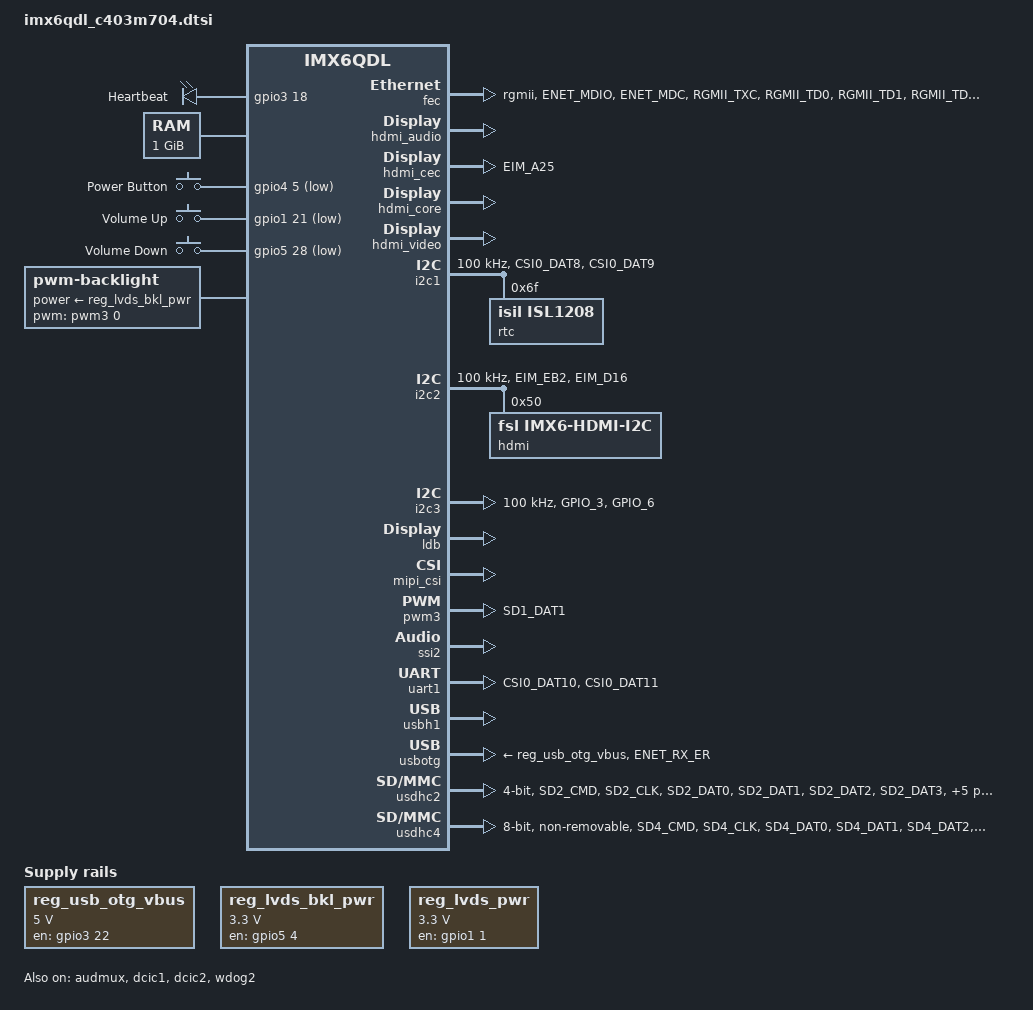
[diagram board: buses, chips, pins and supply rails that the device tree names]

#include <dt-bindings/gpio/gpio.h>
#include <dt-bindings/input/input.h>

/ {
	aliases {
		mxcfb0 = &mxcfb1;
		mxcfb1 = &mxcfb2;
		mxcfb2 = &mxcfb3;
		mxcfb3 = &mxcfb4;
	};


	hannstar_cabc {
		compatible = "hannstar,cabc";
		lvds0 {
			gpios = <&gpio1 1 GPIO_ACTIVE_HIGH>;
		};
		lvds1 {
			gpios = <&gpio1 1 GPIO_ACTIVE_HIGH>;
		};
	};

	chosen {
		stdout-path = &uart1;
	};


	leds {
		compatible = "gpio-leds";
		user_led: user {
			label = "Heartbeat";
			gpios = <&gpio3 18 0>;
			linux,default-trigger = "heartbeat";
		};
	};

	memory: memory {
		reg = <0x10000000 0x40000000>;
	};

	regulators {
		compatible = "simple-bus";
		#address-cells = <1>;
		#size-cells = <0>;

		reg_usb_otg_vbus: regulator@0 {
			compatible = "regulator-fixed";
			reg = <0>;
			regulator-name = "usb_otg_vbus";
			regulator-min-microvolt = <5000000>;
			regulator-max-microvolt = <5000000>;
			gpio = <&gpio3 22 0>;
			enable-active-high;
		};

		reg_lvds_bkl_pwr: regulator@1 {
			compatible = "regulator-fixed";
			reg = <1>;
			regulator-name = "lvds_bkl_pwr";
			regulator-min-microvolt = <3300000>;
			regulator-max-microvolt = <3300000>;
			pinctrl-names = "default";
			pinctrl-0 = <&pinctrl_lvds_bkl_pwr>;
			gpio = <&gpio5 4 GPIO_ACTIVE_HIGH>;
			enable-active-high;
			regulator-boot-on;
			regulator-always-on;
		};

		reg_lvds_pwr: regulator@2 {
			compatible = "regulator-fixed";
			reg = <2>;
			regulator-name = "lvds_pwr";
			regulator-min-microvolt = <3300000>;
			regulator-max-microvolt = <3300000>;
			pinctrl-names = "default";
			pinctrl-0 = <&pinctrl_lvds_pwr>;
			gpio = <&gpio1 1 GPIO_ACTIVE_HIGH>;
			enable-active-high;
			regulator-boot-on;
			regulator-always-on;
		};
	};

	gpio-keys {
		compatible = "gpio-keys";
		pinctrl-names = "default";
		pinctrl-0 = <&pinctrl_gpio_keys>;

		power {
			label = "Power Button";
			gpios = <&gpio4 5 GPIO_ACTIVE_LOW>;
			gpio-key,wakeup;
			linux,code = <KEY_POWER>;
		};

		volume-up {
			label = "Volume Up";
			gpios = <&gpio1 21 GPIO_ACTIVE_LOW>;
			gpio-key,wakeup;
			linux,code = <KEY_VOLUMEUP>;
		};

		volume-down {
			label = "Volume Down";
			gpios = <&gpio5 28 GPIO_ACTIVE_LOW>;
			gpio-key,wakeup;
			linux,code = <KEY_VOLUMEDOWN>;
		};
	};

	sound-hdmi {
		compatible = "fsl,imx6q-audio-hdmi",
			     "fsl,imx-audio-hdmi";
		model = "imx-audio-hdmi";
		hdmi-controller = <&hdmi_audio>;
	};

	mxcfb1: fb@0 {
		compatible = "fsl,mxc_sdc_fb";
		disp_dev = "ldb";
		interface_pix_fmt = "RGB666";
		default_bpp = <16>;
		int_clk = <0>;
		late_init = <0>;
		status = "disabled";
	};

	mxcfb2: fb@1 {
		compatible = "fsl,mxc_sdc_fb";
		disp_dev = "hdmi";
		interface_pix_fmt = "RGB24";
		mode_str ="1920x1080M@60";
		default_bpp = <24>;
		int_clk = <0>;
		late_init = <0>;
		status = "disabled";
	};

	mxcfb3: fb@2 {
		compatible = "fsl,mxc_sdc_fb";
		disp_dev = "lcd";
		interface_pix_fmt = "RGB565";
		mode_str ="CLAA-WVGA";
		default_bpp = <16>;
		int_clk = <0>;
		late_init = <0>;
		status = "disabled";
	};

	mxcfb4: fb@3 {
		compatible = "fsl,mxc_sdc_fb";
		disp_dev = "ldb";
		interface_pix_fmt = "RGB666";
		default_bpp = <16>;
		int_clk = <0>;
		late_init = <0>;
		status = "disabled";
	};


	backlight {
		compatible = "pwm-backlight";
		pwms = <&pwm3 0 50000>;
		brightness-levels = <0 4 8 16 32 64 128 255>;
		default-brightness-level = <4>;
		power-supply = <&reg_lvds_bkl_pwr>;
		status = "okay";
	};

	v4l2_cap_0 {
		compatible = "fsl,imx6q-v4l2-capture";
		ipu_id = <0>;
		csi_id = <0>;
		mclk_source = <0>;
		status = "okay";
	};

	v4l2_cap_1 {
		compatible = "fsl,imx6q-v4l2-capture";
		ipu_id = <0>;
		csi_id = <1>;
		mclk_source = <0>;
		status = "okay";
	};

	v4l2_out {
		compatible = "fsl,mxc_v4l2_output";
		status = "okay";
	};

};

&audmux {
	pinctrl-names = "default";
	pinctrl-0 = <&pinctrl_audmux>;
	status = "okay";
};

&clks {
	fsl,ldb-di0-parent = <&clks IMX6QDL_CLK_PLL2_PFD0_352M>;
	fsl,ldb-di1-parent = <&clks IMX6QDL_CLK_PLL2_PFD0_352M>;
};


&fec {
	pinctrl-names = "default";
	pinctrl-0 = <&pinctrl_enet>;
	phy-mode = "rgmii";
	phy-reset-gpios = <&gpio1 27 0>;
	fsl,magic-packet;
	status = "okay";
};

&gpc {
	fsl,ldo-bypass = <1>;
};

&dcic1 {
	dcic_id = <0>;
	dcic_mux = "dcic-hdmi";
	status = "okay";
};

&dcic2 {
	dcic_id = <1>;
	dcic_mux = "dcic-lvds1";
	status = "okay";
};

&hdmi_audio {
	status = "okay";
};

&hdmi_cec {
	pinctrl-names = "default";
	pinctrl-0 = <&pinctrl_hdmi_cec>;
	status = "okay";
};

&hdmi_core {
	ipu_id = <0>;
	disp_id = <0>;
	status = "okay";
};

&hdmi_video {
	fsl,phy_reg_vlev = <0x0294>;
	fsl,phy_reg_cksymtx = <0x800d>;
	status = "okay";
};

&i2c1 {
	clock-frequency = <100000>;
	pinctrl-names = "default";
	pinctrl-0 = <&pinctrl_i2c1>;
	status = "okay";

	rtc: rtc@6f {
		compatible = "isil,isl1208";
		reg = <0x6f>;
	};
};

&i2c2 {
	clock-frequency = <100000>;
	pinctrl-names = "default";
	pinctrl-0 = <&pinctrl_i2c2>;
	status = "okay";

	hdmi: edid@50 {
		compatible = "fsl,imx6-hdmi-i2c";
		reg = <0x50>;
	};
};

&i2c3 {
	clock-frequency = <100000>;
	pinctrl-names = "default";
	pinctrl-0 = <&pinctrl_i2c3>;
	status = "okay";
};

&iomuxc {
	pinctrl-names = "default";
	pinctrl-0 = <&pinctrl_hog>;

	imx6qdl-sabresd {
		pinctrl_hog: hoggrp {
			fsl,pins = <
				MX6QDL_PAD_EIM_D18__GPIO3_IO18 		0x80000000 	/*running led*/
				MX6QDL_PAD_GPIO_19__GPIO4_IO05          0x1b0b1         /*sys power button*/
			>;
		};

		pinctrl_audmux: audmuxgrp {
			fsl,pins = <
				MX6QDL_PAD_CSI0_DAT7__AUD3_RXD		0x130b0
				MX6QDL_PAD_CSI0_DAT4__AUD3_TXC		0x130b0
				MX6QDL_PAD_CSI0_DAT5__AUD3_TXD		0x110b0
				MX6QDL_PAD_CSI0_DAT6__AUD3_TXFS		0x130b0
			>;
		};

		pinctrl_ecspi1: ecspi1grp {
			fsl,pins = <
				MX6QDL_PAD_KEY_COL1__ECSPI1_MISO	0x100b1
				MX6QDL_PAD_KEY_ROW0__ECSPI1_MOSI	0x100b1
				MX6QDL_PAD_KEY_COL0__ECSPI1_SCLK	0x100b1
				MX6QDL_PAD_KEY_ROW1__GPIO4_IO09		0x1b0b0
			>;
		};

		pinctrl_lvds_bkl_pwr: lvds_bkl-pwrgrp {
			fsl,pins = <
				MX6QDL_PAD_EIM_A24__GPIO5_IO04		0x1b0b1 	/* lvds backlight Power Enable */
			>;
		};

		pinctrl_lvds_pwr: lvds-pwrgrp {
			fsl,pins = <
				MX6QDL_PAD_GPIO_1__GPIO1_IO01		0x1b0b1 	/* lvds LCD Power Enable */
			>;
		};

		pinctrl_enet: enetgrp {
			fsl,pins = <
				MX6QDL_PAD_ENET_MDIO__ENET_MDIO		0x1b0b0
				MX6QDL_PAD_ENET_MDC__ENET_MDC		0x1b0b0
				MX6QDL_PAD_RGMII_TXC__RGMII_TXC		0x1b0b0
				MX6QDL_PAD_RGMII_TD0__RGMII_TD0		0x1b0b0
				MX6QDL_PAD_RGMII_TD1__RGMII_TD1		0x1b0b0
				MX6QDL_PAD_RGMII_TD2__RGMII_TD2		0x1b0b0
				MX6QDL_PAD_RGMII_TD3__RGMII_TD3		0x1b0b0
				MX6QDL_PAD_RGMII_TX_CTL__RGMII_TX_CTL	0x1b0b0
				MX6QDL_PAD_ENET_REF_CLK__ENET_TX_CLK	0x1b0b0
				MX6QDL_PAD_RGMII_RXC__RGMII_RXC		0x1b0b0
				MX6QDL_PAD_RGMII_RD0__RGMII_RD0		0x1b0b0
				MX6QDL_PAD_RGMII_RD1__RGMII_RD1		0x1b0b0
				MX6QDL_PAD_RGMII_RD2__RGMII_RD2		0x1b0b0
				MX6QDL_PAD_RGMII_RD3__RGMII_RD3		0x1b0b0
				MX6QDL_PAD_RGMII_RX_CTL__RGMII_RX_CTL	0x1b0b0
				MX6QDL_PAD_GPIO_16__ENET_REF_CLK	0x4001b0a8
				MX6QDL_PAD_ENET_RXD0__GPIO1_IO27	0x000b0 /* Phy reset */
				MX6QDL_PAD_ENET_RXD1__GPIO1_IO26	0x000b1
			>;
		};


		pinctrl_gpio_keys: gpio_keysgrp {
			fsl,pins = <
				MX6QDL_PAD_EIM_D29__GPIO3_IO29 			0x1b0b0
				MX6QDL_PAD_SD1_DAT3__GPIO1_IO21  		0x1b0b0
				MX6QDL_PAD_CSI0_PIXCLK__GPIO5_IO18  		0x1b0b0
			>;
		};

		pinctrl_hdmi_cec: hdmicecgrp {
			fsl,pins = <
				MX6QDL_PAD_EIM_A25__HDMI_TX_CEC_LINE 0x108b0
			>;
		};

		pinctrl_hdmi_hdcp: hdmihdcpgrp {
			fsl,pins = <
				MX6QDL_PAD_EIM_EB2__HDMI_TX_DDC_SCL 0x4001b8b1
				MX6QDL_PAD_EIM_D16__HDMI_TX_DDC_SDA 0x4001b8b1
			>;
		};

		pinctrl_i2c1: i2c1grp {
			fsl,pins = <
				MX6QDL_PAD_CSI0_DAT8__I2C1_SDA		0x4001b8b1
				MX6QDL_PAD_CSI0_DAT9__I2C1_SCL		0x4001b8b1
			>;
		};

		pinctrl_i2c2: i2c2grp {
			fsl,pins = <
				MX6QDL_PAD_EIM_EB2__I2C2_SCL		0x4001b8b1
				MX6QDL_PAD_EIM_D16__I2C2_SDA		0x4001b8b1
			>;
		};

		pinctrl_i2c3: i2c3grp {
			fsl,pins = <
				MX6QDL_PAD_GPIO_3__I2C3_SCL		0x4001b8b1
				MX6QDL_PAD_GPIO_6__I2C3_SDA 		0x4001b8b1
			>;
		};

		pinctrl_pwm3: pwm3grp {
			fsl,pins = <
				MX6QDL_PAD_SD1_DAT1__PWM3_OUT		0x1b0b1
			>;
		};

		pinctrl_uart1: uart1grp {
			fsl,pins = <
				MX6QDL_PAD_CSI0_DAT10__UART1_TX_DATA	0x1b0b1
				MX6QDL_PAD_CSI0_DAT11__UART1_RX_DATA	0x1b0b1
			>;
		};

		pinctrl_usbotg: usbotggrp {
			fsl,pins = <
				MX6QDL_PAD_ENET_RX_ER__USB_OTG_ID	0x17059
			>;
		};

		pinctrl_usdhc2: usdhc2grp {
			fsl,pins = <
				MX6QDL_PAD_SD2_CMD__SD2_CMD		0x17059
				MX6QDL_PAD_SD2_CLK__SD2_CLK		0x10059
				MX6QDL_PAD_SD2_DAT0__SD2_DATA0		0x17059
				MX6QDL_PAD_SD2_DAT1__SD2_DATA1		0x17059
				MX6QDL_PAD_SD2_DAT2__SD2_DATA2		0x17059
				MX6QDL_PAD_SD2_DAT3__SD2_DATA3		0x17059
				MX6QDL_PAD_NANDF_D4__SD2_DATA4		0x17059
				MX6QDL_PAD_NANDF_D5__SD2_DATA5		0x17059
				MX6QDL_PAD_NANDF_D6__SD2_DATA6		0x17059
				MX6QDL_PAD_NANDF_D7__SD2_DATA7		0x17059
			>;
		};

		pinctrl_usdhc3: usdhc3grp {
			fsl,pins = <
				MX6QDL_PAD_SD3_CMD__SD3_CMD		0x17059
				MX6QDL_PAD_SD3_CLK__SD3_CLK		0x10059
				MX6QDL_PAD_SD3_DAT0__SD3_DATA0		0x17059
				MX6QDL_PAD_SD3_DAT1__SD3_DATA1		0x17059
				MX6QDL_PAD_SD3_DAT2__SD3_DATA2		0x17059
				MX6QDL_PAD_SD3_DAT3__SD3_DATA3		0x17059
			>;
		};

		pinctrl_usdhc4: usdhc4grp {
			fsl,pins = <
				MX6QDL_PAD_SD4_CMD__SD4_CMD		0x17059
				MX6QDL_PAD_SD4_CLK__SD4_CLK		0x10059
				MX6QDL_PAD_SD4_DAT0__SD4_DATA0		0x17059
				MX6QDL_PAD_SD4_DAT1__SD4_DATA1		0x17059
				MX6QDL_PAD_SD4_DAT2__SD4_DATA2		0x17059
				MX6QDL_PAD_SD4_DAT3__SD4_DATA3		0x17059
				MX6QDL_PAD_SD4_DAT4__SD4_DATA4		0x17059
				MX6QDL_PAD_SD4_DAT5__SD4_DATA5		0x17059
				MX6QDL_PAD_SD4_DAT6__SD4_DATA6		0x17059
				MX6QDL_PAD_SD4_DAT7__SD4_DATA7		0x17059
			>;
		};

		pinctrl_wdog: wdoggrp {
			fsl,pins = <
				MX6QDL_PAD_GPIO_1__WDOG2_B 0x80000000
			>;
		};
	};
};

&ldb {
	status = "okay";

	lvds-channel@0 {
		fsl,data-mapping = "spwg";
		fsl,data-width = <18>;
		status = "okay";

		display-timings {
			native-mode = <&timing0>;
			timing0: hsd100pxn1 {
				clock-frequency = <73300000>;
				hactive = <800>;
				vactive = <1280>;
				hback-porch = <16>;
				hfront-porch = <121>;
				vback-porch = <7>;
				vfront-porch = <7>;
				hsync-len = <12>;
				vsync-len = <7>;
			};
		};
	};

	lvds-channel@1 {
		fsl,data-mapping = "spwg";
		fsl,data-width = <18>;
		primary;
		status = "okay";

		display-timings {
			native-mode = <&timing1>;
			timing1: hsd100pxn1 {
				clock-frequency = <73300000>;
				hactive = <800>;
				vactive = <1280>;
				hback-porch = <16>;
				hfront-porch = <121>;
				vback-porch = <7>;
				vfront-porch = <7>;
				hsync-len = <12>;
				vsync-len = <7>;
			};
		};
	};
};

&mipi_csi {
	status = "okay";
	ipu_id = <0>;
	csi_id = <1>;
	v_channel = <0>;
	lanes = <2>;
};

&pwm3 {
	pinctrl-names = "default";
	pinctrl-0 = <&pinctrl_pwm3>;
	status = "okay";
};

&snvs_poweroff {
	status = "okay";
};

&ssi2 {
	status = "okay";
};

&uart1 {
	pinctrl-names = "default";
	pinctrl-0 = <&pinctrl_uart1>;
	status = "okay";
};

&usbh1 {
	status = "okay";
};

&usbotg {
	vbus-supply = <&reg_usb_otg_vbus>;
	pinctrl-names = "default";
	pinctrl-0 = <&pinctrl_usbotg>;
	disable-over-current;
	srp-disable;
	hnp-disable;
	adp-disable;
	status = "okay";
};

&usbphy1 {
	tx-d-cal = <0x5>;
};

&usbphy2 {
	tx-d-cal = <0x5>;
};

&usdhc2 {
	pinctrl-names = "default";
	pinctrl-0 = <&pinctrl_usdhc2>;
	bus-width = <4>;
	cd-gpios = <&gpio1 4 GPIO_ACTIVE_LOW>;
	no-1-8-v;
	keep-power-in-suspend;
	enable-sdio-wakeup;
	status = "okay";
};

&usdhc4 {
	pinctrl-names = "default";
	pinctrl-0 = <&pinctrl_usdhc4>;
	bus-width = <8>;
	non-removable;
	no-1-8-v;
	keep-power-in-suspend;
	status = "okay";
};

&wdog1 {
	status = "disabled";
};

&wdog2 {
	pinctrl-names = "default";
	pinctrl-0 = <&pinctrl_wdog>;
	fsl,wdog_b;
	status = "okay";
};
